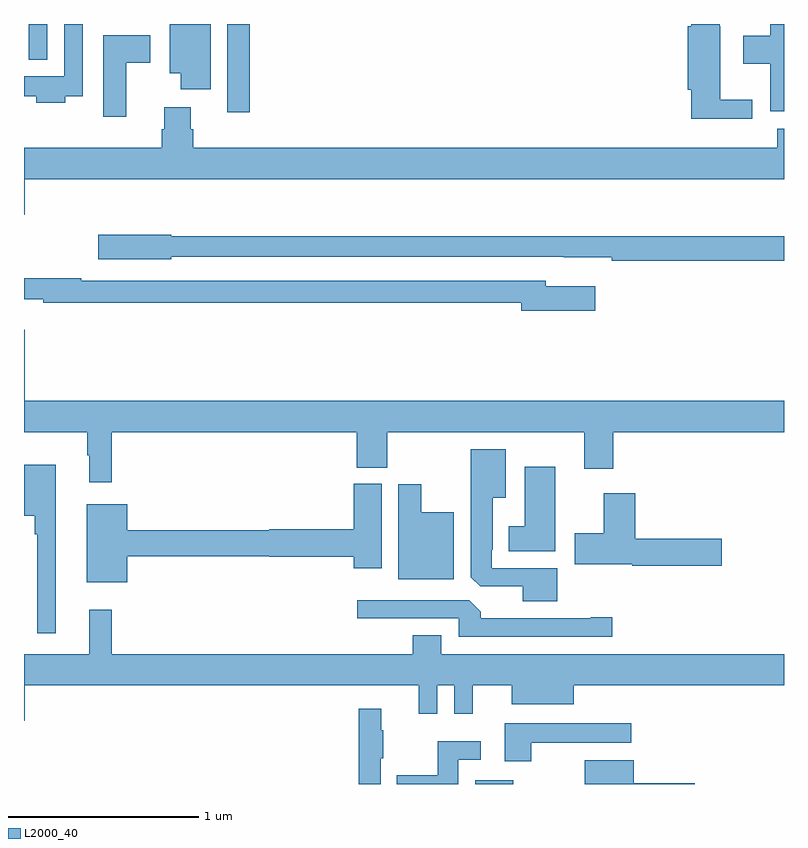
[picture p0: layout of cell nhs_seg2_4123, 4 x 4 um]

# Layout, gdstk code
import gdstk
lib = gdstk.Library(unit=1e-6, precision=1e-09)
def R(c, l, rs):  # rectangles x0, y0, x1, y1
    for r in rs: c.add(gdstk.rectangle(r[:2], r[2:], *l))
def P(c, l, *ps):  # polygons
    for p in ps: c.add(gdstk.Polygon(p, *l))
L2000_40 = (2000, 40)

nhs_seg2_4123 = lib.new_cell('nhs_seg2_4123')
R(nhs_seg2_4123, L2000_40, [(335.375,629.8,335.575,629.821), (334.071,633.336,334.187,633.8), (333.026,633.611,333.123,633.8)])
P(nhs_seg2_4123, L2000_40, [(333.217,633.42),(333.309,633.42),(333.309,633.8),(333.213,633.8),(333.213,633.526),(333,633.526),(333,633.42),(333.065,633.42),(333.065,633.386),(333.217,633.386)],
  [(337,633.8),(336.928,633.8),(336.928,633.738),(336.786,633.738),(336.786,633.59),(336.928,633.59),(336.928,633.342),(337,633.342)],
  [(333.982,633.8),(333.767,633.8),(333.767,633.542),(333.824,633.542),(333.824,633.456),(333.982,633.456)],
  [(336.832,633.401),(336.664,633.401),(336.664,633.789),(336.661,633.789),(336.661,633.8),(336.512,633.8),(336.512,633.789),(336.494,633.789),(336.494,633.453),(336.512,633.453),(336.512,633.302),(336.832,633.302)],
  [(333.538,633.595),(333.664,633.595),(333.664,633.742),(333.416,633.742),(333.416,633.312),(333.538,633.312)],
  [(333.004,632.984),(337,632.984),(337,633.25),(336.965,633.25),(336.965,633.148),(333.89,633.148),(333.89,633.246),(333.877,633.246),(333.877,633.361),(333.737,633.361),(333.737,633.246),(333.725,633.246),(333.725,633.148),(333,633.148),(333,632.796),(333.004,632.796)],
  [(337,632.683),(333.774,632.683),(333.774,632.691),(333.39,632.691),(333.39,632.561),(333.774,632.561),(333.774,632.574),(335.842,632.574),(335.842,632.573),(336.094,632.573),(336.094,632.554),(337,632.554)],
  [(336.007,632.419),(335.746,632.419),(335.746,632.448),(333.302,632.448),(333.302,632.461),(333,632.461),(333,632.351),(333.1,632.351),(333.1,632.332),(335.618,632.332),(335.618,632.29),(336.007,632.29)],
  [(333.461,631.652),(334.751,631.652),(334.751,631.465),(334.911,631.465),(334.911,631.652),(335.948,631.652),(335.948,631.458),(336.101,631.458),(336.101,631.652),(337,631.652),(337,631.816),(333.004,631.816),(333.004,632.191),(333,632.191),(333,631.652),(333.333,631.652),(333.333,631.529),(333.344,631.529),(333.344,631.389),(333.461,631.389)],
  [(335.807,630.936),(335.463,630.936),(335.463,631.033),(335.467,631.033),(335.467,631.307),(335.536,631.307),(335.536,631.561),(335.351,631.561),(335.351,630.889),(335.4,630.84),(335.624,630.84),(335.624,630.761),(335.807,630.761)],
  [(333.166,631.48),(333,631.48),(333,631.211),(333.057,631.211),(333.057,631.115),(333.069,631.115),(333.069,630.594),(333.166,630.594)],
  [(335.797,631.471),(335.636,631.471),(335.636,631.156),(335.552,631.156),(335.552,631.025),(335.797,631.025)],
  [(333.544,631),(334.29,631),(334.29,630.995),(334.736,630.995),(334.736,630.936),(334.882,630.936),(334.882,631.38),(334.736,631.38),(334.736,631.142),(334.29,631.142),(334.29,631.136),(333.544,631.136),(333.544,631.273),(333.329,631.273),(333.329,630.863),(333.544,630.863)],
  [(335.263,631.231),(335.092,631.231),(335.092,631.378),(334.97,631.378),(334.97,630.878),(335.263,630.878)],
  [(336.673,631.091),(336.218,631.091),(336.218,631.33),(336.05,631.33),(336.05,631.119),(335.898,631.119),(335.898,630.956),(336.201,630.956),(336.201,630.949),(336.673,630.949)],
  [(336.097,630.677),(335.984,630.677),(335.984,630.672),(335.405,630.672),(335.405,630.706),(335.343,630.768),(334.755,630.768),(334.755,630.672),(335.289,630.672),(335.289,630.576),(336.097,630.576)],
  [(335.045,630.484),(333.461,630.484),(333.461,630.718),(333.344,630.718),(333.344,630.484),(333,630.484),(333,630.132),(333.004,630.132),(333.004,630.32),(335.078,630.32),(335.078,630.171),(335.175,630.171),(335.175,630.32),(335.265,630.32),(335.265,630.171),(335.363,630.171),(335.363,630.32),(335.567,630.32),(335.567,630.221),(335.893,630.221),(335.893,630.32),(337,630.32),(337,630.484),(335.197,630.484),(335.197,630.583),(335.045,630.583)],
  [(334.878,629.935),(334.891,629.935),(334.891,630.083),(334.88,630.083),(334.88,630.196),(334.762,630.196),(334.762,629.8),(334.878,629.8)],
  [(335.671,630.017),(336.196,630.017),(336.196,630.121),(335.531,630.121),(335.531,629.919),(335.671,629.919)],
  [(335.286,629.928),(335.404,629.928),(335.404,630.025),(335.178,630.025),(335.178,629.847),(334.963,629.847),(334.963,629.8),(335.286,629.8)],
  [(336.53,629.804),(336.208,629.804),(336.208,629.926),(335.951,629.926),(335.951,629.8),(336.53,629.8)])

lib.write_gds('nhs_seg2_4123.gds')
